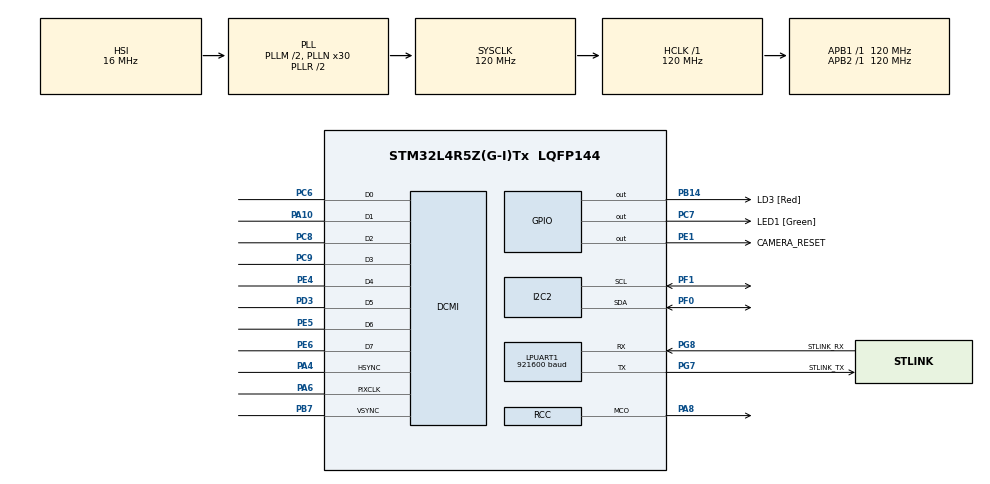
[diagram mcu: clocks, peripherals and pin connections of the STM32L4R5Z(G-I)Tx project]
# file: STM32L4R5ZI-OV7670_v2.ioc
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DCMI.PCKPolarity=DCMI_PCKPOLARITY_RISING
DCMI.VSPolarity=DCMI_VSPOLARITY_HIGH
Dma.DCMI.0.Direction=DMA_PERIPH_TO_MEMORY
Dma.DCMI.0.EventEnable=DISABLE
Dma.DCMI.0.Instance=DMA1_Channel2
Dma.DCMI.0.MemDataAlignment=DMA_MDATAALIGN_WORD
Dma.DCMI.0.MemInc=DMA_MINC_ENABLE
Dma.DCMI.0.Mode=DMA_NORMAL
Dma.DCMI.0.PeriphDataAlignment=DMA_PDATAALIGN_WORD
Dma.DCMI.0.PeriphInc=DMA_PINC_DISABLE
Dma.DCMI.0.Polarity=HAL_DMAMUX_REQUEST_GEN_RISING
Dma.DCMI.0.Priority=DMA_PRIORITY_LOW
Dma.DCMI.0.RequestNumber=1
Dma.DCMI.0.SignalID=NONE
Dma.DCMI.0.SyncEnable=DISABLE
Dma.DCMI.0.SyncPolarity=HAL_DMAMUX_SYNC_NO_EVENT
Dma.DCMI.0.SyncRequestNumber=1
Dma.DCMI.0.SyncSignalID=NONE
Dma.LPUART1_TX.1.Direction=DMA_MEMORY_TO_PERIPH
Dma.LPUART1_TX.1.EventEnable=DISABLE
Dma.LPUART1_TX.1.Instance=DMA1_Channel1
Dma.LPUART1_TX.1.MemDataAlignment=DMA_MDATAALIGN_BYTE
Dma.LPUART1_TX.1.MemInc=DMA_MINC_ENABLE
Dma.LPUART1_TX.1.Mode=DMA_NORMAL
Dma.LPUART1_TX.1.PeriphDataAlignment=DMA_PDATAALIGN_BYTE
Dma.LPUART1_TX.1.PeriphInc=DMA_PINC_DISABLE
Dma.LPUART1_TX.1.Polarity=HAL_DMAMUX_REQUEST_GEN_RISING
Dma.LPUART1_TX.1.Priority=DMA_PRIORITY_HIGH
Dma.LPUART1_TX.1.RequestNumber=1
Dma.LPUART1_TX.1.SignalID=NONE
Dma.LPUART1_TX.1.SyncEnable=DISABLE
Dma.LPUART1_TX.1.SyncPolarity=HAL_DMAMUX_SYNC_NO_EVENT
Dma.LPUART1_TX.1.SyncRequestNumber=1
Dma.LPUART1_TX.1.SyncSignalID=NONE
Dma.Request0=DCMI
Dma.Request1=LPUART1_TX
I2C2.Timing=0x307075B1
LPUART1.BaudRate=921600
LPUART1.WordLength=UART_WORDLENGTH_8B
Mcu.Family=STM32L4
Mcu.Name=STM32L4R5Z(G-I)Tx
Mcu.Package=LQFP144
NVIC.DCMI_IRQn=true\:0\:0\:false\:false\:true\:true\:true
NVIC.DMA1_Channel1_IRQn=true\:0\:0\:false\:false\:true\:false\:true
NVIC.DMA1_Channel2_IRQn=true\:0\:0\:false\:false\:true\:false\:true
NVIC.I2C2_ER_IRQn=true\:0\:0\:false\:false\:true\:true\:true
NVIC.I2C2_EV_IRQn=true\:0\:0\:false\:false\:true\:true\:true
NVIC.LPUART1_IRQn=true\:0\:0\:false\:false\:true\:true\:true
NVIC.PriorityGroup=NVIC_PRIORITYGROUP_4
PA10.GPIO_PuPd=GPIO_PULLDOWN
PA10.GPIO_Speed=GPIO_SPEED_FREQ_VERY_HIGH
PA10.Mode=Slave_8_bits_External_Synchro
PA10.Signal=DCMI_D1
PA13\ (JTMS/SWDIO).GPIO_Label=TMS
PA13\ (JTMS/SWDIO).Mode=Trace_Asynchronous_SW
PA13\ (JTMS/SWDIO).Signal=SYS_JTMS-SWDIO
PA14\ (JTCK/SWCLK).GPIO_Label=TCK
PA14\ (JTCK/SWCLK).Mode=Trace_Asynchronous_SW
PA14\ (JTCK/SWCLK).Signal=SYS_JTCK-SWCLK
PA4.GPIO_PuPd=GPIO_PULLDOWN
PA4.GPIO_Speed=GPIO_SPEED_FREQ_VERY_HIGH
PA4.Mode=Slave_8_bits_External_Synchro
PA4.Signal=DCMI_HSYNC
PA6.GPIO_PuPd=GPIO_PULLDOWN
PA6.GPIO_Speed=GPIO_SPEED_FREQ_VERY_HIGH
PA6.Mode=Slave_8_bits_External_Synchro
PA6.Signal=DCMI_PIXCLK
PA8.Mode=Clock-out
PA8.Signal=RCC_MCO
PB14.GPIO_Label=LD3 [Red]
PB14.Signal=GPIO_Output
PB3\ (JTDO/TRACESWO).GPIO_Label=SWO
PB3\ (JTDO/TRACESWO).Mode=Trace_Asynchronous_SW
PB3\ (JTDO/TRACESWO).Signal=SYS_JTDO-SWO
PB7.GPIO_PuPd=GPIO_PULLDOWN
PB7.GPIO_Speed=GPIO_SPEED_FREQ_VERY_HIGH
PB7.Mode=Slave_8_bits_External_Synchro
PB7.Signal=DCMI_VSYNC
PC6.GPIO_PuPd=GPIO_PULLDOWN
PC6.GPIO_Speed=GPIO_SPEED_FREQ_VERY_HIGH
PC6.Mode=Slave_8_bits_External_Synchro
PC6.Signal=DCMI_D0
PC7.GPIO_Label=LED1 [Green]
PC7.Signal=GPIO_Output
PC8.GPIO_PuPd=GPIO_PULLDOWN
PC8.GPIO_Speed=GPIO_SPEED_FREQ_VERY_HIGH
PC8.Mode=Slave_8_bits_External_Synchro
PC8.Signal=DCMI_D2
PC9.GPIO_PuPd=GPIO_PULLDOWN
PC9.GPIO_Speed=GPIO_SPEED_FREQ_VERY_HIGH
PC9.Mode=Slave_8_bits_External_Synchro
PC9.Signal=DCMI_D3
PD3.GPIO_PuPd=GPIO_PULLDOWN
PD3.GPIO_Speed=GPIO_SPEED_FREQ_VERY_HIGH
PD3.Mode=Slave_8_bits_External_Synchro
PD3.Signal=DCMI_D5
PE1.GPIO_Label=CAMERA_RESET
PE1.GPIO_PuPd=GPIO_PULLUP
PE1.Signal=GPIO_Output
PE4.GPIO_PuPd=GPIO_PULLDOWN
PE4.GPIO_Speed=GPIO_SPEED_FREQ_VERY_HIGH
PE4.Mode=Slave_8_bits_External_Synchro
PE4.Signal=DCMI_D4
PE5.GPIO_PuPd=GPIO_PULLDOWN
PE5.GPIO_Speed=GPIO_SPEED_FREQ_VERY_HIGH
PE5.Mode=Slave_8_bits_External_Synchro
PE5.Signal=DCMI_D6
PE6.GPIO_PuPd=GPIO_PULLDOWN
PE6.GPIO_Speed=GPIO_SPEED_FREQ_VERY_HIGH
PE6.Mode=Slave_8_bits_External_Synchro
PE6.Signal=DCMI_D7
PF0.Mode=I2C
PF0.Signal=I2C2_SDA
PF1.Mode=I2C
PF1.Signal=I2C2_SCL
PG7.GPIO_Label=STLINK_TX
PG7.Mode=Asynchronous
PG7.Signal=LPUART1_TX
PG8.GPIO_Label=STLINK_RX
PG8.Mode=Asynchronous
PG8.Signal=LPUART1_RX
ProjectManager.HeapSize=0x200
ProjectManager.StackSize=0x400
ProjectManager.TargetToolchain=STM32CubeIDE
RCC.48MHZClocksFreq_Value=24000000
RCC.ADCFreq_Value=96000000
RCC.AHBFreq_Value=120000000
RCC.APB1Freq_Value=120000000
RCC.APB1TimFreq_Value=120000000
RCC.APB2Freq_Value=120000000
RCC.APB2TimFreq_Value=120000000
RCC.CK48CLockSelection=RCC_USBCLKSOURCE_HSI48
RCC.CortexFreq_Value=120000000
RCC.HCLKFreq_Value=120000000
RCC.HSE_VALUE=8000000
RCC.HSI48_VALUE=48000000
RCC.HSI_VALUE=16000000
RCC.LSE_VALUE=32768
RCC.MSI_VALUE=4000000
RCC.PLLM1=2
RCC.PLLMUL=RCC_PLL_MUL9
RCC.PLLN=30
RCC.PLLSAI1N=12
RCC.PLLSourceVirtual=RCC_PLLSOURCE_HSI
RCC.PRESCALERUSB=RCC_USBCLKSOURCE_PLL_DIV1_5
RCC.RCC_MCO1Source=RCC_MCO1SOURCE_HSI48
RCC.RCC_MCODiv=RCC_MCODIV_2
RCC.SYSCLKFreq_VALUE=120000000
RCC.SYSCLKSource=RCC_SYSCLKSOURCE_PLLCLK
RCC.SYSCLKSourceVirtual=RCC_SYSCLKSOURCE_PLLCLK
RCC.USBFreq_Value=48000000
RCC.VCOOutputFreq_Value=240000000
board=NUCLEO-L4R5ZI

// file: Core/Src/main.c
/* USER CODE BEGIN Header */
/**
  ******************************************************************************
  * @file           : main.c
  * @brief          : Main program body
  ******************************************************************************
  * @attention
  *
  * <h2><center>&copy; Copyright (c) 2021 STMicroelectronics.
  * All rights reserved.</center></h2>
  *
  * This software component is licensed by ST under BSD 3-Clause license,
  * the "License"; You may not use this file except in compliance with the
  * License. You may obtain a copy of the License at:
  *                        opensource.org/licenses/BSD-3-Clause
  *
  ******************************************************************************
  */
/* USER CODE END Header */
#include "main.h"

/* USER CODE BEGIN Includes */
#include <stdbool.h>
/* USER CODE END Includes */

DCMI_HandleTypeDef hdcmi;
DMA_HandleTypeDef hdma_dcmi;

I2C_HandleTypeDef hi2c2;

void SystemClock_Config(void);
static void MX_GPIO_Init(void);
static void MX_DMA_Init(void);
static void MX_DCMI_Init(void);
static void MX_I2C2_Init(void);
static void MX_LPUART1_UART_Init(void);
/* USER CODE BEGIN PFP */
//void Serial_com(char *s, uint32_t size);
/* USER CODE END PFP */

/* USER CODE BEGIN 0 */

#define OV7670_QVGA_WIDTH  320
#define OV7670_QVGA_HEIGHT 240
#define QVGA_PIXELS   76800          // 320*240
#define RGB565_QVGA_SIZE 38400	// 76800/2 Number of 32-bit words -> 2 pixels per word - se page 32 DCMI doc - 38.4 kB
#define RGB565_QVGA_SIZE_8BIT 153600  //38400*4

uint32_t frame_buffer[RGB565_QVGA_SIZE] = {0};
uint8_t buffer2[4] = {0};
uint8_t *pointer_8bit = (uint8_t *)&frame_buffer;
uint8_t myTxData[1] = {0x55};
uint8_t reg_val = 0x00;
uint8_t camera_config_OK = 0;

bool snap_received = false;
uint8_t test2;

/* USER CODE END 0 */

int main(void)
{

  /* MCU Configuration--------------------------------------------------------*/

  /* Reset of all peripherals, Initializes the Flash interface and the Systick. */
  HAL_Init();

  /* Configure the system clock */
  SystemClock_Config();

  /* Initialize all configured peripherals */
  MX_GPIO_Init();
  MX_DMA_Init();
  MX_DCMI_Init();
  MX_I2C2_Init();
  MX_LPUART1_UART_Init();
  /* USER CODE BEGIN 2 */
 // i2c_check(); //Implement as part of ov7670 init function?
  ov7670_init();
//camera_config_OK = ov7670_init_MIT(76800);
//  if (camera_config_OK)
//  {
//	  HAL_GPIO_WritePin(GPIOC, LED1_Pin, GPIO_PIN_SET);
//  }
  /* USER CODE END 2 */

  /* Infinite loop */
  /* USER CODE BEGIN WHILE */

  HAL_GPIO_WritePin(GPIOB, GPIO_PIN_12, GPIO_PIN_SET);

  ov7670_read(0x0b); // read only register - version number
  ov7670_reg_check(); // Prints 0xAA and lights Green LED if all registers are successfully written
  //ov7670_read_all_reg();

//HAL_Delay(5000);
  while (1)
  {
	  if(snap_received)
	  {
		  HAL_DCMI_Start_DMA(&hdcmi, DCMI_MODE_SNAPSHOT, (uint32_t) frame_buffer, RGB565_QVGA_SIZE);
		  //HAL_GPIO_WritePin(GPIOB, GPIO_PIN_12, GPIO_PIN_RESET);
		  //HAL_GPIO_TogglePin(GPIOB, GPIO_PIN_14);
		  snap_received = false;
	  }

	/*Button pressed*/ //NOT IN USE ANYMORE
	if (HAL_GPIO_ReadPin(GPIOC, GPIO_PIN_13))
	{
	//	HAL_DCMI_Stop(&hdcmi);
		HAL_GPIO_TogglePin(GPIOB, GPIO_PIN_14);
		HAL_Delay(500);
		HAL_DCMI_Start_DMA(&hdcmi, DCMI_MODE_SNAPSHOT, (uint32_t) frame_buffer, RGB565_QVGA_SIZE);
		//HAL_GPIO_TogglePin(GPIOB, GPIO_PIN_14);
		//HAL_Delay(500);
	}

    /* USER CODE END WHILE */

  }
}

void SystemClock_Config(void)
{
  RCC_OscInitTypeDef RCC_OscInitStruct = {0};
  RCC_ClkInitTypeDef RCC_ClkInitStruct = {0};
  RCC_PeriphCLKInitTypeDef PeriphClkInit = {0};

  /** Configure the main internal regulator output voltage
  */
  if (HAL_PWREx_ControlVoltageScaling(PWR_REGULATOR_VOLTAGE_SCALE1_BOOST) != HAL_OK)
  {
    Error_Handler();
  }
  /** Initializes the RCC Oscillators according to the specified parameters
  * in the RCC_OscInitTypeDef structure.
  */
  RCC_OscInitStruct.OscillatorType = RCC_OSCILLATORTYPE_HSI48|RCC_OSCILLATORTYPE_HSI;
  RCC_OscInitStruct.HSIState = RCC_HSI_ON;
  RCC_OscInitStruct.HSI48State = RCC_HSI48_ON;
  RCC_OscInitStruct.HSICalibrationValue = RCC_HSICALIBRATION_DEFAULT;
  RCC_OscInitStruct.PLL.PLLState = RCC_PLL_ON;
  RCC_OscInitStruct.PLL.PLLSource = RCC_PLLSOURCE_HSI;
  RCC_OscInitStruct.PLL.PLLM = 2;
  RCC_OscInitStruct.PLL.PLLN = 30;
  RCC_OscInitStruct.PLL.PLLP = RCC_PLLP_DIV2;
  RCC_OscInitStruct.PLL.PLLQ = RCC_PLLQ_DIV2;
  RCC_OscInitStruct.PLL.PLLR = RCC_PLLR_DIV2;
  if (HAL_RCC_OscConfig(&RCC_OscInitStruct) != HAL_OK)
  {
    Error_Handler();
  }
  /** Initializes the CPU, AHB and APB buses clocks
  */
  RCC_ClkInitStruct.ClockType = RCC_CLOCKTYPE_HCLK|RCC_CLOCKTYPE_SYSCLK
                              |RCC_CLOCKTYPE_PCLK1|RCC_CLOCKTYPE_PCLK2;
  RCC_ClkInitStruct.SYSCLKSource = RCC_SYSCLKSOURCE_PLLCLK;
  RCC_ClkInitStruct.AHBCLKDivider = RCC_SYSCLK_DIV1;
  RCC_ClkInitStruct.APB1CLKDivider = RCC_HCLK_DIV1;
  RCC_ClkInitStruct.APB2CLKDivider = RCC_HCLK_DIV1;

  if (HAL_RCC_ClockConfig(&RCC_ClkInitStruct, FLASH_LATENCY_5) != HAL_OK)
  {
    Error_Handler();
  }
  PeriphClkInit.PeriphClockSelection = RCC_PERIPHCLK_LPUART1|RCC_PERIPHCLK_I2C2;
  PeriphClkInit.Lpuart1ClockSelection = RCC_LPUART1CLKSOURCE_PCLK1;
  PeriphClkInit.I2c2ClockSelection = RCC_I2C2CLKSOURCE_PCLK1;
  if (HAL_RCCEx_PeriphCLKConfig(&PeriphClkInit) != HAL_OK)
  {
    Error_Handler();
  }
  HAL_RCC_MCOConfig(RCC_MCO1, RCC_MCO1SOURCE_HSI48, RCC_MCODIV_2);
}

static void MX_DCMI_Init(void)
{

  hdcmi.Instance = DCMI;
  hdcmi.Init.SynchroMode = DCMI_SYNCHRO_HARDWARE;
  hdcmi.Init.PCKPolarity = DCMI_PCKPOLARITY_RISING;
  hdcmi.Init.VSPolarity = DCMI_VSPOLARITY_HIGH;
  hdcmi.Init.HSPolarity = DCMI_HSPOLARITY_LOW;
  hdcmi.Init.CaptureRate = DCMI_CR_ALL_FRAME;
  hdcmi.Init.ExtendedDataMode = DCMI_EXTEND_DATA_8B;
  hdcmi.Init.JPEGMode = DCMI_JPEG_DISABLE;
  hdcmi.Init.ByteSelectMode = DCMI_BSM_ALL;
  hdcmi.Init.ByteSelectStart = DCMI_OEBS_ODD;
  hdcmi.Init.LineSelectMode = DCMI_LSM_ALL;
  hdcmi.Init.LineSelectStart = DCMI_OELS_ODD;
  if (HAL_DCMI_Init(&hdcmi) != HAL_OK)
  {
    Error_Handler();
  }

}

static void MX_I2C2_Init(void)
{

  hi2c2.Instance = I2C2;
  hi2c2.Init.Timing = 0x307075B1;
  hi2c2.Init.OwnAddress1 = 0;
  hi2c2.Init.AddressingMode = I2C_ADDRESSINGMODE_7BIT;
  hi2c2.Init.DualAddressMode = I2C_DUALADDRESS_DISABLE;
  hi2c2.Init.OwnAddress2 = 0;
  hi2c2.Init.OwnAddress2Masks = I2C_OA2_NOMASK;
  hi2c2.Init.GeneralCallMode = I2C_GENERALCALL_DISABLE;
  hi2c2.Init.NoStretchMode = I2C_NOSTRETCH_DISABLE;
  if (HAL_I2C_Init(&hi2c2) != HAL_OK)
  {
    Error_Handler();
  }
  /** Configure Analogue filter
  */
  if (HAL_I2CEx_ConfigAnalogFilter(&hi2c2, I2C_ANALOGFILTER_ENABLE) != HAL_OK)
  {
    Error_Handler();
  }
  /** Configure Digital filter
  */
  if (HAL_I2CEx_ConfigDigitalFilter(&hi2c2, 0) != HAL_OK)
  {
    Error_Handler();
  }

}

static void MX_LPUART1_UART_Init(void)
{

  LL_LPUART_InitTypeDef LPUART_InitStruct = {0};

  LL_GPIO_InitTypeDef GPIO_InitStruct = {0};

  /* Peripheral clock enable */
  LL_APB1_GRP2_EnableClock(LL_APB1_GRP2_PERIPH_LPUART1);

  LL_AHB2_GRP1_EnableClock(LL_AHB2_GRP1_PERIPH_GPIOG);
  HAL_PWREx_EnableVddIO2();
  /**LPUART1 GPIO Configuration
  PG7   ------> LPUART1_TX
  PG8   ------> LPUART1_RX
  */
  GPIO_InitStruct.Pin = LL_GPIO_PIN_7|LL_GPIO_PIN_8;
  GPIO_InitStruct.Mode = LL_GPIO_MODE_ALTERNATE;
  GPIO_InitStruct.Speed = LL_GPIO_SPEED_FREQ_VERY_HIGH;
  GPIO_InitStruct.OutputType = LL_GPIO_OUTPUT_PUSHPULL;
  GPIO_InitStruct.Pull = LL_GPIO_PULL_NO;
  GPIO_InitStruct.Alternate = LL_GPIO_AF_8;
  LL_GPIO_Init(GPIOG, &GPIO_InitStruct);

  /* LPUART1 DMA Init */

  /* LPUART1_TX Init */
  LL_DMA_SetPeriphRequest(DMA1, LL_DMA_CHANNEL_1, LL_DMAMUX_REQ_LPUART1_TX);

  LL_DMA_SetDataTransferDirection(DMA1, LL_DMA_CHANNEL_1, LL_DMA_DIRECTION_MEMORY_TO_PERIPH);

  LL_DMA_SetChannelPriorityLevel(DMA1, LL_DMA_CHANNEL_1, LL_DMA_PRIORITY_HIGH);

  LL_DMA_SetMode(DMA1, LL_DMA_CHANNEL_1, LL_DMA_MODE_NORMAL);

  LL_DMA_SetPeriphIncMode(DMA1, LL_DMA_CHANNEL_1, LL_DMA_PERIPH_NOINCREMENT);

  LL_DMA_SetMemoryIncMode(DMA1, LL_DMA_CHANNEL_1, LL_DMA_MEMORY_INCREMENT);

  LL_DMA_SetPeriphSize(DMA1, LL_DMA_CHANNEL_1, LL_DMA_PDATAALIGN_BYTE);

  LL_DMA_SetMemorySize(DMA1, LL_DMA_CHANNEL_1, LL_DMA_MDATAALIGN_BYTE);

  /* LPUART1 interrupt Init */
  NVIC_SetPriority(LPUART1_IRQn, NVIC_EncodePriority(NVIC_GetPriorityGrouping(),0, 0));
  NVIC_EnableIRQ(LPUART1_IRQn);

  LPUART_InitStruct.PrescalerValue = LL_LPUART_PRESCALER_DIV1;
  LPUART_InitStruct.BaudRate = 921600;
  LPUART_InitStruct.DataWidth = LL_LPUART_DATAWIDTH_8B;
  LPUART_InitStruct.StopBits = LL_LPUART_STOPBITS_1;
  LPUART_InitStruct.Parity = LL_LPUART_PARITY_NONE;
  LPUART_InitStruct.TransferDirection = LL_LPUART_DIRECTION_TX_RX;
  LPUART_InitStruct.HardwareFlowControl = LL_LPUART_HWCONTROL_NONE;
  LL_LPUART_Init(LPUART1, &LPUART_InitStruct);
  LL_LPUART_SetTXFIFOThreshold(LPUART1, LL_LPUART_FIFOTHRESHOLD_1_8);
  LL_LPUART_SetRXFIFOThreshold(LPUART1, LL_LPUART_FIFOTHRESHOLD_1_8);
  LL_LPUART_DisableFIFO(LPUART1);
  LL_LPUART_Enable(LPUART1);
  /* USER CODE BEGIN LPUART1_Init 2 */
  LL_LPUART_EnableIT_RXNE(LPUART1);
  /* USER CODE END LPUART1_Init 2 */

}

static void MX_DMA_Init(void)
{

  /* DMA controller clock enable */
  __HAL_RCC_DMAMUX1_CLK_ENABLE();
  __HAL_RCC_DMA1_CLK_ENABLE();

  /* DMA interrupt init */
  /* DMA1_Channel1_IRQn interrupt configuration */
  NVIC_SetPriority(DMA1_Channel1_IRQn, NVIC_EncodePriority(NVIC_GetPriorityGrouping(),0, 0));
  NVIC_EnableIRQ(DMA1_Channel1_IRQn);
  /* DMA1_Channel2_IRQn interrupt configuration */
  HAL_NVIC_SetPriority(DMA1_Channel2_IRQn, 0, 0);
  HAL_NVIC_EnableIRQ(DMA1_Channel2_IRQn);

}

static void MX_GPIO_Init(void)
{
  GPIO_InitTypeDef GPIO_InitStruct = {0};

  /* GPIO Ports Clock Enable */
  __HAL_RCC_GPIOE_CLK_ENABLE();
  __HAL_RCC_GPIOF_CLK_ENABLE();
  __HAL_RCC_GPIOA_CLK_ENABLE();
  __HAL_RCC_GPIOB_CLK_ENABLE();
  __HAL_RCC_GPIOG_CLK_ENABLE();
  HAL_PWREx_EnableVddIO2();
  __HAL_RCC_GPIOC_CLK_ENABLE();
  __HAL_RCC_GPIOD_CLK_ENABLE();

  /*Configure GPIO pin Output Level */
  HAL_GPIO_WritePin(LD3_GPIO_Port, LD3_Pin, GPIO_PIN_RESET);

  /*Configure GPIO pin Output Level */
  HAL_GPIO_WritePin(LED1_GPIO_Port, LED1_Pin, GPIO_PIN_RESET);

  /*Configure GPIO pin Output Level */
  HAL_GPIO_WritePin(CAMERA_RESET_GPIO_Port, CAMERA_RESET_Pin, GPIO_PIN_RESET);

  /*Configure GPIO pin : LD3_Pin */
  GPIO_InitStruct.Pin = LD3_Pin;
  GPIO_InitStruct.Mode = GPIO_MODE_OUTPUT_PP;
  GPIO_InitStruct.Pull = GPIO_NOPULL;
  GPIO_InitStruct.Speed = GPIO_SPEED_FREQ_LOW;
  HAL_GPIO_Init(LD3_GPIO_Port, &GPIO_InitStruct);

  /*Configure GPIO pin : LED1_Pin */
  GPIO_InitStruct.Pin = LED1_Pin;
  GPIO_InitStruct.Mode = GPIO_MODE_OUTPUT_PP;
  GPIO_InitStruct.Pull = GPIO_NOPULL;
  GPIO_InitStruct.Speed = GPIO_SPEED_FREQ_LOW;
  HAL_GPIO_Init(LED1_GPIO_Port, &GPIO_InitStruct);

  /*Configure GPIO pin : PA8 */
  GPIO_InitStruct.Pin = GPIO_PIN_8;
  GPIO_InitStruct.Mode = GPIO_MODE_AF_PP;
  GPIO_InitStruct.Pull = GPIO_NOPULL;
  GPIO_InitStruct.Speed = GPIO_SPEED_FREQ_LOW;
  GPIO_InitStruct.Alternate = GPIO_AF0_MCO;
  HAL_GPIO_Init(GPIOA, &GPIO_InitStruct);

  /*Configure GPIO pin : CAMERA_RESET_Pin */
  GPIO_InitStruct.Pin = CAMERA_RESET_Pin;
  GPIO_InitStruct.Mode = GPIO_MODE_OUTPUT_PP;
  GPIO_InitStruct.Pull = GPIO_PULLUP;
  GPIO_InitStruct.Speed = GPIO_SPEED_FREQ_LOW;
  HAL_GPIO_Init(CAMERA_RESET_GPIO_Port, &GPIO_InitStruct);

}

/* USER CODE BEGIN 4 */

void HAL_DCMI_FrameEventCallback(DCMI_HandleTypeDef *hdcmi)
{

  /* NOTE : This function should not be modified; when the callback is needed,
            the HAL_DCMI_FrameEventCallback() callback can be implemented in the user file.
   */
  Serial_com(&frame_buffer[0], RGB565_QVGA_SIZE_8BIT); //Send the Frame buffer to PC
  //HAL_GPIO_WritePin(GPIOB, GPIO_PIN_12, GPIO_PIN_SET);
  HAL_GPIO_TogglePin(GPIOB, GPIO_PIN_14);

}

//Use Do-While instead - more clean
void i2c_check(void)
{
	reg_val = ov7670_read_return(0x0b);
	while(reg_val != 0x73)
	{
	  reg_val = ov7670_read_return(0x0b);
	  ov7670_read(0x0b);
	  HAL_Delay(100);
	  HAL_GPIO_TogglePin(GPIOB, GPIO_PIN_14);
	}
	HAL_GPIO_WritePin(GPIOB, GPIO_PIN_14, GPIO_PIN_RESET);
}

/* USER CODE END 4 */

void Error_Handler(void)
{
  __disable_irq();
  while (1)
  {
  }
}

/************************ (C) COPYRIGHT STMicroelectronics *****END OF FILE****/
